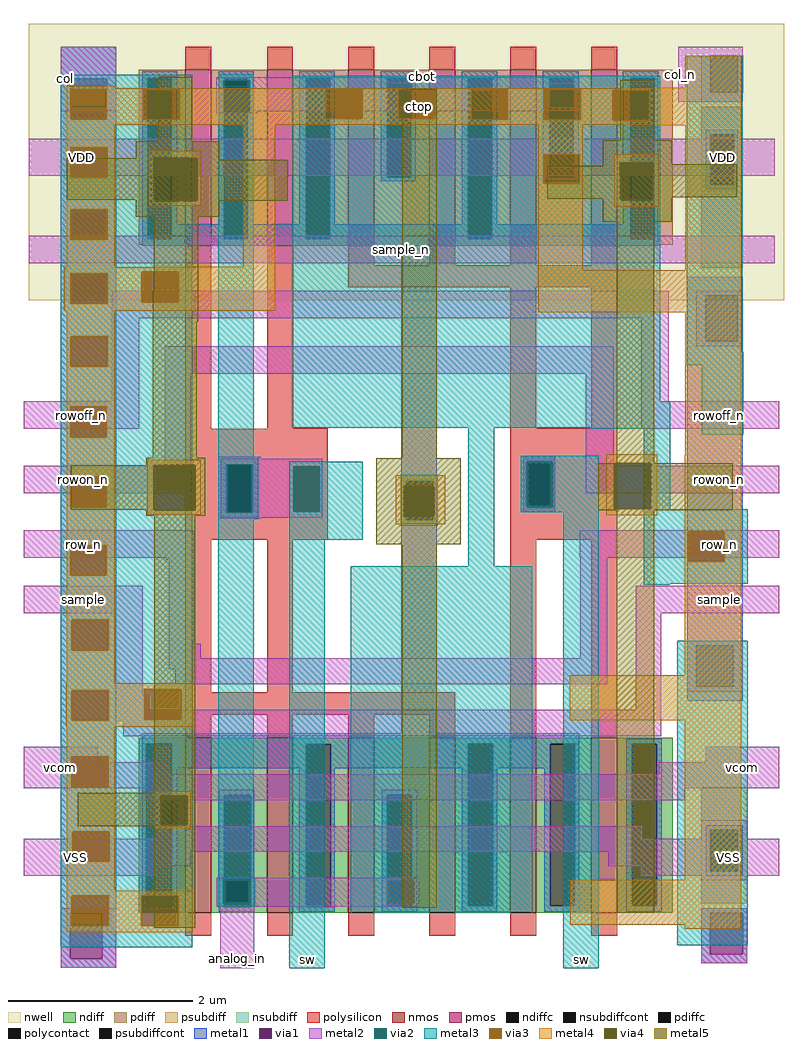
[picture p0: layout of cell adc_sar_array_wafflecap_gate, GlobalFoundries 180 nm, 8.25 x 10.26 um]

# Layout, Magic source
magic
tech gf180mcuD
magscale 1 10
<< nwell >>
rect -330 -120 1310 480
<< nmos >>
rect 10 -1450 66 -1070
rect 188 -1450 244 -1070
rect 364 -1450 420 -1070
rect 540 -1450 596 -1070
rect 716 -1450 772 -1070
rect 892 -1450 948 -1070
<< pmos >>
rect 10 -2 66 380
rect 188 -2 244 380
rect 364 -2 420 380
rect 540 -2 596 380
rect 716 -2 772 380
rect 892 -2 948 380
<< ndiff >>
rect -91 -1083 10 -1070
rect -91 -1437 -75 -1083
rect -19 -1437 10 -1083
rect -91 -1450 10 -1437
rect 66 -1195 188 -1070
rect 66 -1437 95 -1195
rect 152 -1437 188 -1195
rect 66 -1450 188 -1437
rect 244 -1084 364 -1070
rect 244 -1437 273 -1084
rect 326 -1437 364 -1084
rect 244 -1450 364 -1437
rect 420 -1194 540 -1070
rect 420 -1436 449 -1194
rect 502 -1436 540 -1194
rect 420 -1450 540 -1436
rect 596 -1083 716 -1070
rect 596 -1435 625 -1083
rect 678 -1435 716 -1083
rect 596 -1450 716 -1435
rect 772 -1083 892 -1070
rect 772 -1435 803 -1083
rect 856 -1435 892 -1083
rect 772 -1450 892 -1435
rect 948 -1083 1068 -1070
rect 948 -1435 981 -1083
rect 1034 -1435 1068 -1083
rect 948 -1450 1068 -1435
<< pdiff >>
rect -91 362 10 380
rect -91 13 -71 362
rect -20 13 10 362
rect -91 0 10 13
rect -83 -2 10 0
rect 66 362 188 380
rect 66 13 95 362
rect 146 13 188 362
rect 66 -2 188 13
rect 244 362 364 380
rect 244 13 273 362
rect 324 13 364 362
rect 244 -2 364 13
rect 420 362 540 380
rect 420 147 449 362
rect 500 147 540 362
rect 420 -2 540 147
rect 596 362 716 380
rect 596 13 625 362
rect 676 13 716 362
rect 596 -2 716 13
rect 772 362 892 380
rect 772 147 801 362
rect 852 147 892 362
rect 772 -2 892 147
rect 948 362 1068 380
rect 948 13 977 362
rect 1028 13 1068 362
rect 948 0 1068 13
rect 948 -2 1037 0
<< ndiffc >>
rect -75 -1437 -19 -1083
rect 95 -1437 152 -1195
rect 273 -1437 326 -1084
rect 449 -1436 502 -1194
rect 625 -1435 678 -1083
rect 803 -1435 856 -1083
rect 981 -1435 1034 -1083
<< pdiffc >>
rect -71 13 -20 362
rect 95 13 146 362
rect 273 13 324 362
rect 449 147 500 362
rect 625 13 676 362
rect 801 147 852 362
rect 977 13 1028 362
<< psubdiff >>
rect 1130 -1270 1230 -1178
rect 1130 -1360 1150 -1270
rect 1210 -1360 1230 -1270
rect 1130 -1430 1230 -1360
<< nsubdiff >>
rect 1130 240 1220 300
rect 1130 130 1150 240
rect 1200 130 1220 240
rect 1130 -50 1220 130
<< psubdiffcont >>
rect 1150 -1360 1210 -1270
<< nsubdiffcont >>
rect 1150 130 1200 240
<< polysilicon >>
rect 10 380 66 430
rect 188 380 244 430
rect 364 380 420 430
rect 540 380 596 430
rect 716 380 772 430
rect 892 380 948 430
rect 10 -399 66 -2
rect 188 -398 244 -2
rect 364 -44 420 -2
rect 540 -44 596 -2
rect 716 -44 772 -2
rect 892 -44 948 -2
rect 364 -92 950 -44
rect 716 -398 772 -92
rect 892 -398 948 -92
rect 188 -399 319 -398
rect 10 -477 319 -399
rect 10 -582 100 -477
rect 156 -582 319 -477
rect 10 -641 319 -582
rect 716 -471 948 -398
rect 716 -570 752 -471
rect 804 -570 948 -471
rect 716 -641 948 -570
rect 10 -972 66 -641
rect 188 -972 244 -641
rect 10 -1020 596 -972
rect 10 -1070 66 -1020
rect 188 -1070 244 -1020
rect 364 -1070 420 -1020
rect 540 -1070 596 -1020
rect 716 -1070 772 -641
rect 892 -1070 948 -641
rect 10 -1500 66 -1450
rect 188 -1500 244 -1450
rect 364 -1500 420 -1450
rect 540 -1500 596 -1450
rect 716 -1500 772 -1450
rect 892 -1500 948 -1450
<< polycontact >>
rect 100 -582 156 -477
rect 752 -570 804 -471
<< metal1 >>
rect -260 360 -140 430
rect -260 300 -240 360
rect -160 300 -140 360
rect -260 -1450 -140 300
rect -83 362 -7 377
rect -83 13 -71 362
rect -20 44 -7 362
rect 83 362 159 377
rect 83 44 95 362
rect -20 13 95 44
rect 146 44 159 362
rect 258 362 335 377
rect 258 44 273 362
rect 146 13 273 44
rect 324 44 335 362
rect 434 362 511 377
rect 434 147 449 362
rect 500 351 511 362
rect 502 298 511 351
rect 500 147 511 298
rect 434 138 511 147
rect 610 362 687 377
rect 610 44 625 362
rect 324 13 625 44
rect 676 44 687 362
rect 786 362 864 377
rect 786 147 801 362
rect 852 350 864 362
rect 853 298 864 350
rect 852 147 864 298
rect 786 138 864 147
rect 960 362 1037 377
rect 960 44 977 362
rect 676 13 977 44
rect 1028 13 1037 362
rect 1130 330 1150 410
rect 1210 330 1222 410
rect 1130 310 1220 330
rect 1140 240 1210 250
rect 1140 130 1150 240
rect 1200 230 1210 240
rect 1202 150 1210 230
rect 1200 130 1210 150
rect 1140 120 1210 130
rect -83 -2 1037 13
rect 87 -477 169 -465
rect 87 -582 100 -477
rect 156 -582 169 -477
rect 87 -593 169 -582
rect 479 -512 556 -2
rect 1100 -110 1220 -70
rect 1100 -210 1140 -110
rect 1210 -210 1220 -110
rect 479 -598 490 -512
rect 548 -598 556 -512
rect 739 -471 812 -458
rect 739 -570 752 -471
rect 804 -570 812 -471
rect 739 -581 812 -570
rect 479 -1061 556 -598
rect 1100 -870 1220 -210
rect 1100 -960 1120 -870
rect 1200 -960 1220 -870
rect 1100 -990 1220 -960
rect -83 -1083 866 -1061
rect -83 -1437 -75 -1083
rect -19 -1084 625 -1083
rect -19 -1137 273 -1084
rect -19 -1437 -7 -1137
rect -83 -1448 -7 -1437
rect 83 -1195 160 -1183
rect 83 -1437 95 -1195
rect 152 -1437 160 -1195
rect 83 -1448 160 -1437
rect 258 -1437 273 -1137
rect 326 -1137 625 -1084
rect 326 -1437 335 -1137
rect 258 -1448 335 -1437
rect 437 -1194 514 -1183
rect 437 -1436 449 -1194
rect 502 -1379 514 -1194
rect 506 -1431 514 -1379
rect 502 -1436 514 -1431
rect 437 -1448 514 -1436
rect 610 -1435 625 -1137
rect 678 -1137 803 -1083
rect 678 -1435 687 -1137
rect 610 -1448 687 -1435
rect 789 -1435 803 -1137
rect 856 -1435 866 -1083
rect 789 -1448 866 -1435
rect 968 -1083 1045 -1073
rect 968 -1435 981 -1083
rect 1034 -1435 1045 -1083
rect 1140 -1270 1220 -1260
rect 1140 -1360 1150 -1270
rect 1210 -1360 1220 -1270
rect 1140 -1370 1220 -1360
rect 968 -1448 1045 -1435
rect -260 -1550 -240 -1450
rect -170 -1550 -140 -1450
rect -260 -1570 -140 -1550
rect 1130 -1450 1230 -1440
rect 1130 -1540 1150 -1450
rect 1220 -1540 1230 -1450
rect 1130 -1560 1230 -1540
<< via1 >>
rect -240 300 -160 360
rect 449 298 500 351
rect 500 298 502 351
rect 801 298 852 350
rect 852 298 853 350
rect 1150 330 1210 410
rect 1150 150 1200 230
rect 1200 150 1202 230
rect 1140 -210 1210 -110
rect 490 -598 548 -512
rect 752 -570 804 -471
rect 1120 -960 1200 -870
rect 95 -1431 152 -1379
rect 449 -1431 502 -1379
rect 502 -1431 506 -1379
rect -240 -1550 -170 -1450
rect 1150 -1540 1220 -1450
<< metal2 >>
rect -260 360 -140 430
rect 1080 410 1220 430
rect -260 300 -240 360
rect -160 300 -140 360
rect -260 290 -140 300
rect 77 357 866 364
rect 77 287 94 357
rect 150 351 866 357
rect 150 298 449 351
rect 502 350 866 351
rect 502 298 801 350
rect 853 298 866 350
rect 1080 330 1150 410
rect 1210 330 1222 410
rect 1080 310 1220 330
rect 150 290 866 298
rect 150 287 166 290
rect 77 286 166 287
rect 1140 230 1210 233
rect -330 150 1150 230
rect 1202 150 1290 230
rect 1140 148 1210 150
rect -330 -40 1290 20
rect -150 -160 1060 -100
rect -150 -340 -90 -160
rect -340 -400 -90 -340
rect -34 -280 940 -220
rect -34 -480 22 -280
rect -340 -540 22 -480
rect 82 -465 174 -460
rect 82 -477 307 -465
rect 82 -582 100 -477
rect 156 -481 307 -477
rect 156 -580 246 -481
rect 302 -580 307 -481
rect 744 -471 813 -458
rect 156 -582 307 -580
rect 82 -593 307 -582
rect 479 -512 556 -504
rect 82 -595 174 -593
rect 479 -598 490 -512
rect 548 -598 556 -512
rect 744 -570 752 -471
rect 808 -570 813 -471
rect 880 -480 940 -280
rect 1000 -340 1060 -160
rect 1120 -110 1220 -100
rect 1120 -210 1140 -110
rect 1210 -210 1220 -110
rect 1120 -220 1220 -210
rect 1000 -400 1300 -340
rect 880 -540 1300 -480
rect 744 -581 813 -570
rect 479 -606 556 -598
rect -340 -680 30 -620
rect 867 -680 1300 -620
rect -31 -684 30 -680
rect -340 -800 -82 -740
rect -142 -978 -82 -800
rect -26 -866 30 -684
rect -26 -898 44 -866
rect 868 -898 926 -680
rect -26 -922 926 -898
rect -12 -954 926 -922
rect 988 -800 1300 -740
rect -142 -1010 -68 -978
rect 988 -1010 1044 -800
rect 1100 -870 1220 -860
rect 1100 -960 1120 -870
rect 1200 -960 1220 -870
rect 1100 -970 1220 -960
rect -142 -1034 1044 -1010
rect -124 -1067 1044 -1034
rect -340 -1124 -180 -1090
rect 1140 -1124 1300 -1090
rect -340 -1150 -25 -1124
rect 1038 -1150 1300 -1124
rect -340 -1180 1300 -1150
rect -77 -1206 1094 -1180
rect -53 -1290 1001 -1262
rect 1130 -1290 1230 -1250
rect -340 -1318 1300 -1290
rect -340 -1349 22 -1318
rect 928 -1349 1300 -1318
rect -340 -1370 -50 -1349
rect 1000 -1370 1300 -1349
rect 78 -1376 518 -1374
rect 78 -1432 93 -1376
rect 152 -1379 518 -1376
rect 152 -1431 449 -1379
rect 506 -1431 518 -1379
rect 1130 -1380 1230 -1370
rect 152 -1432 518 -1431
rect 78 -1437 518 -1432
rect -260 -1450 -140 -1440
rect -260 -1550 -240 -1450
rect -170 -1550 -140 -1450
rect -260 -1570 -140 -1550
rect 86 -1571 160 -1437
rect 1130 -1450 1230 -1440
rect 1130 -1540 1150 -1450
rect 1220 -1540 1230 -1450
rect 1130 -1560 1230 -1540
<< via2 >>
rect 94 287 150 357
rect 100 -582 156 -477
rect 246 -580 302 -481
rect 490 -598 548 -512
rect 752 -570 804 -471
rect 804 -570 808 -471
rect 93 -1379 152 -1376
rect 93 -1431 95 -1379
rect 95 -1431 152 -1379
rect 93 -1432 152 -1431
<< metal3 >>
rect -260 336 25 369
rect -260 272 -239 336
rect -160 272 -81 336
rect -2 272 25 336
rect -260 212 25 272
rect 83 357 159 370
rect 83 287 94 357
rect 150 287 159 357
rect 83 266 159 287
rect -260 146 -239 212
rect -159 146 25 212
rect -260 77 25 146
rect -260 11 -239 77
rect -159 11 25 77
rect -260 -59 25 11
rect -260 -62 -84 -59
rect -260 -128 -238 -62
rect -158 -125 -84 -62
rect -4 -125 25 -59
rect -158 -128 25 -125
rect -260 -199 25 -128
rect -260 -265 -238 -199
rect -158 -265 25 -199
rect -260 -352 25 -265
rect -260 -418 -240 -352
rect -160 -418 25 -352
rect -260 -504 25 -418
rect -260 -570 -240 -504
rect -160 -570 25 -504
rect -260 -652 25 -570
rect -260 -718 -240 -652
rect -160 -718 25 -652
rect -260 -814 25 -718
rect -260 -880 -236 -814
rect -156 -880 25 -814
rect -260 -965 25 -880
rect -260 -967 -79 -965
rect -260 -1033 -236 -967
rect -156 -1031 -79 -967
rect 1 -1031 25 -965
rect -156 -1033 25 -1031
rect -260 -1112 25 -1033
rect -260 -1178 -237 -1112
rect -157 -1178 25 -1112
rect -260 -1274 25 -1178
rect -260 -1340 -235 -1274
rect -155 -1340 25 -1274
rect -260 -1412 25 -1340
rect -260 -1413 -85 -1412
rect -260 -1479 -236 -1413
rect -156 -1478 -85 -1413
rect -5 -1478 25 -1412
rect 82 -460 159 266
rect 244 338 1041 367
rect 244 273 315 338
rect 394 273 473 338
rect 552 337 1041 338
rect 552 273 631 337
rect 244 272 631 273
rect 710 336 1041 337
rect 710 272 790 336
rect 244 271 790 272
rect 869 335 1041 336
rect 869 271 938 335
rect 244 270 938 271
rect 1017 270 1041 335
rect 244 197 1041 270
rect 244 132 788 197
rect 867 132 1041 197
rect 244 -340 1041 132
rect 1099 -232 1219 410
rect 1099 -262 1222 -232
rect 244 -397 1063 -340
rect 82 -477 169 -460
rect 82 -582 100 -477
rect 156 -582 169 -477
rect 82 -596 169 -582
rect 236 -471 313 -470
rect 236 -481 395 -471
rect 236 -580 246 -481
rect 302 -580 395 -481
rect 82 -1374 159 -596
rect 236 -640 395 -580
rect 478 -512 558 -499
rect 478 -523 490 -512
rect 548 -523 558 -512
rect 478 -590 485 -523
rect 550 -590 558 -523
rect 478 -598 490 -590
rect 548 -598 558 -590
rect 478 -610 558 -598
rect 82 -1376 162 -1374
rect 82 -1432 93 -1376
rect 152 -1432 162 -1376
rect 82 -1437 162 -1432
rect -156 -1479 25 -1478
rect -260 -1525 25 -1479
rect 236 -1571 313 -640
rect 624 -698 681 -397
rect 889 -400 1063 -397
rect 739 -471 908 -458
rect 739 -570 752 -471
rect 808 -570 908 -471
rect 739 -581 908 -570
rect 369 -1449 763 -698
rect 831 -1571 908 -581
rect 1005 -574 1063 -400
rect 1131 -413 1222 -262
rect 1005 -623 1231 -574
rect 1005 -688 1101 -623
rect 1180 -688 1231 -623
rect 1005 -736 1231 -688
rect 1005 -738 1062 -736
rect 1078 -1521 1231 -860
<< via3 >>
rect -239 272 -160 336
rect -81 272 -2 336
rect -239 146 -159 212
rect -239 11 -159 77
rect -238 -128 -158 -62
rect -84 -125 -4 -59
rect -238 -265 -158 -199
rect -240 -418 -160 -352
rect -240 -570 -160 -504
rect -240 -718 -160 -652
rect -236 -880 -156 -814
rect -236 -1033 -156 -967
rect -79 -1031 1 -965
rect -237 -1178 -157 -1112
rect -235 -1340 -155 -1274
rect -236 -1479 -156 -1413
rect -85 -1478 -5 -1412
rect 315 273 394 338
rect 473 273 552 338
rect 631 272 710 337
rect 790 271 869 336
rect 938 270 1017 335
rect 788 132 867 197
rect 485 -590 490 -523
rect 490 -590 548 -523
rect 548 -590 550 -523
rect 1101 -688 1180 -623
<< metal4 >>
rect -247 340 -143 345
rect 1096 341 1217 410
rect 957 340 1217 341
rect -247 338 1217 340
rect -247 336 315 338
rect -247 272 -239 336
rect -160 272 -81 336
rect -2 273 315 336
rect 394 273 473 338
rect 552 337 1217 338
rect 552 273 631 337
rect -2 272 631 273
rect 710 336 1217 337
rect 710 272 790 336
rect -247 271 790 272
rect 869 335 1217 336
rect 869 271 938 335
rect -247 270 938 271
rect 1017 270 1217 335
rect -247 260 1217 270
rect -247 212 -143 260
rect -247 146 -239 212
rect -159 146 -143 212
rect -247 77 -143 146
rect -69 188 45 204
rect -69 96 -57 188
rect 36 96 45 188
rect -69 85 45 96
rect -247 11 -239 77
rect -159 11 -143 77
rect -247 -49 -143 11
rect 136 -48 206 260
rect -53 -49 206 -48
rect -253 -59 206 -49
rect -253 -62 -84 -59
rect -253 -128 -238 -62
rect -158 -125 -84 -62
rect -4 -125 206 -59
rect -158 -128 206 -125
rect -253 -143 206 -128
rect 777 197 873 260
rect 957 259 1217 260
rect 777 132 788 197
rect 867 132 873 197
rect 777 -55 873 132
rect 941 178 1038 197
rect 941 98 955 178
rect 1025 98 1038 178
rect 941 83 1038 98
rect 1096 -55 1217 259
rect -247 -199 -143 -143
rect 777 -147 1217 -55
rect -247 -265 -238 -199
rect -158 -265 -143 -199
rect -247 -352 -143 -265
rect -247 -418 -240 -352
rect -160 -418 -143 -352
rect -247 -504 -143 -418
rect -247 -570 -240 -504
rect -160 -570 -143 -504
rect -247 -652 -143 -570
rect -72 -479 44 -467
rect -72 -576 -58 -479
rect 32 -576 44 -479
rect 924 -474 1035 -455
rect 1096 -457 1217 -147
rect -72 -586 44 -576
rect 467 -523 575 -500
rect 467 -590 485 -523
rect 550 -590 575 -523
rect 924 -573 942 -474
rect 1021 -573 1035 -474
rect 924 -587 1035 -573
rect 467 -607 575 -590
rect -247 -718 -240 -652
rect -160 -718 -143 -652
rect -247 -814 -143 -718
rect -247 -880 -236 -814
rect -156 -880 -143 -814
rect -247 -952 -143 -880
rect 1095 -623 1217 -457
rect 1095 -688 1101 -623
rect 1180 -688 1217 -623
rect 1095 -935 1217 -688
rect -248 -965 26 -952
rect -248 -967 -79 -965
rect -248 -1033 -236 -967
rect -156 -1031 -79 -967
rect 1 -1031 26 -965
rect -156 -1033 26 -1031
rect 845 -1032 1217 -935
rect -248 -1046 26 -1033
rect -247 -1112 -143 -1046
rect -247 -1178 -237 -1112
rect -157 -1178 -143 -1112
rect -247 -1274 -143 -1178
rect -55 -1196 22 -1186
rect -55 -1259 -43 -1196
rect 14 -1259 22 -1196
rect -55 -1269 22 -1259
rect -247 -1340 -235 -1274
rect -155 -1340 -143 -1274
rect -247 -1402 -143 -1340
rect 1095 -1379 1217 -1032
rect -247 -1412 26 -1402
rect -247 -1413 -85 -1412
rect -247 -1479 -236 -1413
rect -156 -1478 -85 -1413
rect -5 -1478 26 -1412
rect 846 -1476 1217 -1379
rect -156 -1479 26 -1478
rect -247 -1493 26 -1479
rect 1095 -1485 1217 -1476
<< via4 >>
rect -57 96 36 188
rect 955 98 1025 178
rect -58 -576 32 -479
rect 485 -590 550 -524
rect 942 -573 1021 -474
rect -43 -1259 14 -1196
<< metal5 >>
rect -49 225 25 365
rect -97 188 84 225
rect -247 98 -57 188
rect -97 96 -57 98
rect 36 185 84 188
rect 36 96 233 185
rect -97 95 233 96
rect -97 61 84 95
rect -58 -101 38 61
rect -61 -167 38 -101
rect -61 -462 35 -167
rect -75 -479 54 -462
rect 481 -463 556 339
rect 955 227 1028 358
rect 916 178 1066 227
rect 916 172 955 178
rect 796 100 955 172
rect 916 98 955 100
rect 1025 175 1066 178
rect 1025 103 1207 175
rect 1025 98 1066 103
rect 916 50 1066 98
rect -238 -575 -58 -479
rect -75 -576 -58 -575
rect 32 -576 54 -479
rect -75 -588 54 -576
rect 425 -524 608 -463
rect 947 -474 1028 50
rect -57 -1190 32 -588
rect 425 -590 485 -524
rect 550 -590 608 -524
rect 907 -573 942 -474
rect 1021 -573 1199 -474
rect 907 -576 1199 -573
rect 425 -650 608 -590
rect -223 -1196 32 -1190
rect -223 -1259 -43 -1196
rect 14 -1259 32 -1196
rect -223 -1262 32 -1259
rect -57 -1483 32 -1262
rect 481 -1439 556 -650
rect 947 -1450 1028 -576
<< labels >>
flabel metal2 -260 290 -240 430 0 FreeSans 320 0 0 0 col
port 1 nsew
flabel metal2 1081 310 1090 430 0 FreeSans 320 0 0 0 col_n
port 2 nsew
flabel metal2 -330 150 -101 230 0 FreeSans 320 0 0 0 VDD
port 3 nsew
flabel metal2 1062 150 1290 230 0 FreeSans 320 0 0 0 VDD
port 4 nsew
flabel metal2 -330 -40 1290 20 0 FreeSans 320 0 0 0 sample_n
port 5 nsew
flabel metal2 -340 -400 -90 -340 0 FreeSans 320 0 0 0 rowoff_n
port 6 nsew
flabel metal2 1042 -400 1300 -340 0 FreeSans 320 0 0 0 rowoff_n
port 7 nsew
flabel metal2 -340 -540 -82 -480 0 FreeSans 320 0 0 0 rowon_n
port 8 nsew
flabel metal2 1041 -540 1299 -480 0 FreeSans 320 0 0 0 rowon_n
port 9 nsew
flabel metal2 -340 -680 -82 -620 0 FreeSans 320 0 0 0 row_n
port 10 nsew
flabel metal2 1042 -680 1300 -620 0 FreeSans 320 0 0 0 row_n
port 11 nsew
flabel metal2 -340 -800 -82 -740 0 FreeSans 320 0 0 0 sample
port 12 nsew
flabel metal2 1042 -800 1300 -740 0 FreeSans 320 0 0 0 sample
port 13 nsew
flabel metal2 -340 -1180 -180 -1090 0 FreeSans 320 0 0 0 vcom
port 14 nsew
flabel metal2 1140 -1180 1300 -1090 0 FreeSans 320 0 0 0 vcom
port 15 nsew
flabel metal2 -340 -1370 -117 -1290 0 FreeSans 320 0 0 0 VSS
port 16 nsew
flabel metal2 1077 -1370 1300 -1290 0 FreeSans 320 0 0 0 VSS
port 17 nsew
flabel metal2 86 -1571 160 -1528 0 FreeSans 160 0 0 0 analog_in
port 18 nsew
flabel metal3 236 -1571 313 -1533 0 FreeSans 320 0 0 0 sw
port 19 nsew
flabel metal3 831 -1571 908 -1533 0 FreeSans 320 0 0 0 sw
port 20 nsew
flabel metal5 481 260 556 339 0 FreeSans 320 0 0 0 ctop
port 21 nsew
flabel metal3 526 365 526 365 0 FreeSans 320 0 0 0 cbot
port 22 nsew
<< end >>
